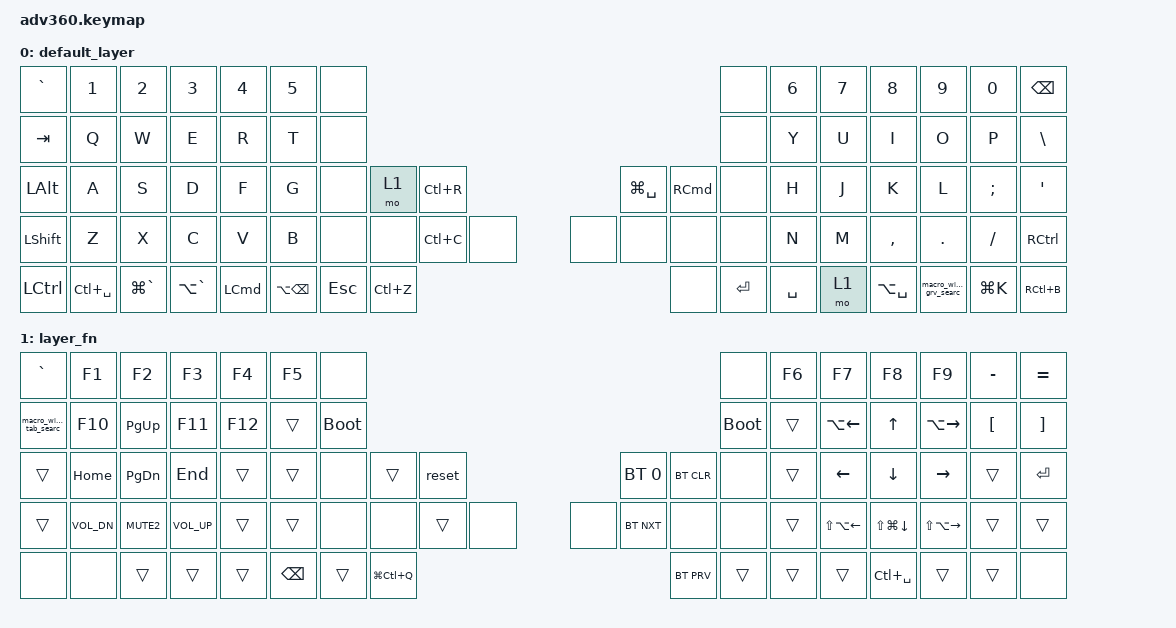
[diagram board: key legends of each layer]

/*
 * Copyright (c) 2020 The ZMK Contributors
 *
 * SPDX-License-Identifier: MIT
 */


/* THIS FILE WAS GENERATED!
 *
 * This file was generated automatically. You may or may not want to
 * edit it directly.
 */

#include <behaviors.dtsi>
#include <dt-bindings/zmk/keys.h>
#include <dt-bindings/zmk/bt.h>

/ {
  behaviors {
    #include "macros.dtsi"

    hm: homerow_mods {
        compatible = "zmk,behavior-hold-tap";
        label = "HOMEROW_MODS";
        #binding-cells = <2>;
        tapping-term-ms = <200>;
        quick_tap_ms = <175>;
        flavor = "tap-preferred";
        bindings = <&kp>, <&kp>;
    };
  };

    keymap {
        compatible = "zmk,keymap";


        default_layer {
            bindings = <
    &kp GRAVE         &kp N1         &kp N2         &kp N3            &kp N4  &kp N5                        &none                                                                            &none  &kp N6  &kp N7         &kp N8                  &kp N9     &kp N0  &kp BACKSPACE
      &kp TAB          &kp Q          &kp W          &kp E             &kp R   &kp T                        &none                                                                            &none   &kp Y   &kp U          &kp I                   &kp O      &kp P       &kp BSLH
 &kp LEFT_ALT          &kp A          &kp S          &kp D             &kp F   &kp G                        &none    &mo 1  &kp LC(R)                  &kp LG(SPACE)  &kp RIGHT_COMMAND      &none   &kp H   &kp J          &kp K                   &kp L   &kp SEMI        &kp SQT
    &kp LSHFT          &kp Z          &kp X          &kp C             &kp V   &kp B                        &none    &none  &kp LC(C)   &none   &none          &none              &none      &none   &kp N   &kp M      &kp COMMA                 &kp DOT   &kp FSLH      &kp RCTRL
    &kp LCTRL  &kp LC(SPACE)  &kp LG(GRAVE)  &kp LA(GRAVE)  &kp LEFT_COMMAND                    &kp LA(BACKSPACE)  &kp ESC  &kp LC(Z)                          &none          &kp ENTER  &kp SPACE           &mo 1  &kp LA(SPACE)  &macro_witch_grv_searc  &kp LG(K)      &kp RC(B)
            >;
        };

        layer_fn {
            bindings = <
              &kp GRAVE        &kp F1       &kp F2        &kp F3   &kp F4  &kp F5                    &none                                                                         &none  &kp F6                  &kp F7                  &kp F8                   &kp F9         &kp MINUS          &kp EQUAL
 &macro_witch_tab_searc       &kp F10    &kp PG_UP       &kp F11  &kp F12  &trans              &bootloader                                                                   &bootloader  &trans      &kp LA(LEFT_ARROW)            &kp UP_ARROW      &kp LA(RIGHT_ARROW)  &kp LEFT_BRACKET  &kp RIGHT_BRACKET
                 &trans      &kp HOME    &kp PG_DN       &kp END   &trans  &trans                    &none  &trans         &reset                  &bt BT_SEL 0  &bt BT_CLR        &none  &trans                &kp LEFT          &kp DOWN_ARROW          &kp RIGHT_ARROW            &trans          &kp ENTER
                 &trans  &kp C_VOL_DN  &kp K_MUTE2  &kp C_VOL_UP   &trans  &trans                    &none   &none         &trans   &none   &none    &bt BT_NXT       &none        &none  &trans  &kp LS(LA(LEFT_ARROW))  &kp LS(LG(DOWN_ARROW))  &kp LS(LA(RIGHT_ARROW))            &trans             &trans
                  &none         &none       &trans        &trans   &trans                    &kp BACKSPACE  &trans  &kp LG(LC(Q))                    &bt BT_PRV      &trans       &trans                          &trans           &kp LC(SPACE)                   &trans            &trans              &none
            >;
        };

    };
};
